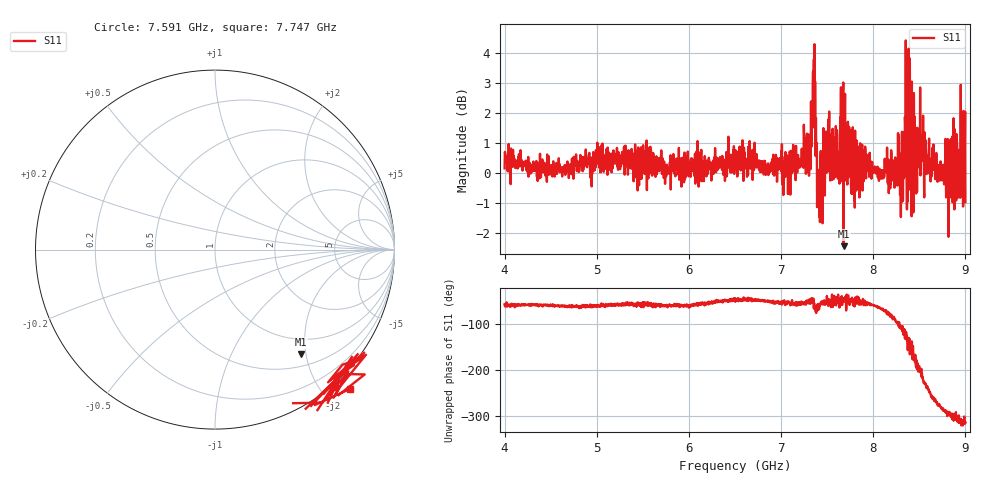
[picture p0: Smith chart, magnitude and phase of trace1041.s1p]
! Created with skrf 1.8.0 (http://scikit-rf.org).
# Hz S RI R 50.0
!freq ReS11 ImS11
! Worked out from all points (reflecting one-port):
!   1601 points, 4 GHz to 9 GHz, reference 50 ohm
!   lowest |S11| = -2.4 dB at 7.678 GHz (marker M1), VSWR 7.16, Z = 35.3 - j95.6 ohm
!   phase of S11 starts at -56 deg and turns -259 deg over the sweep
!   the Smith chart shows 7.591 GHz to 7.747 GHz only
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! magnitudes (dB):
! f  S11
! 4 GHz  0.2
! 4.625 GHz  -0.1
! 5.25 GHz  0.2
! 5.875 GHz  0.3
! 6.5 GHz  0.2
! 7.125 GHz  0.4
! 7.294 GHz  0.0
! 7.347 GHz  3.4
! 7.362 GHz  4.3
! 7.397 GHz  0.0
! 7.416 GHz  -1.5
! 7.506 GHz  0.0
! 7.609 GHz  0.5
! 7.65 GHz  2.9
! 7.678 GHz  -2.4
! 7.703 GHz  1.4
! 7.75 GHz  0.6
! 7.784 GHz  -0.3
! 7.878 GHz  0.9
! 8.312 GHz  1.4
! 8.334 GHz  0.0
! 8.375 GHz  0.6
! 8.412 GHz  0.4
! 8.516 GHz  0.7
! 8.569 GHz  1.1
! 8.712 GHz  0.3
! 8.972 GHz  0.2
! 9 GHz  -1.0
